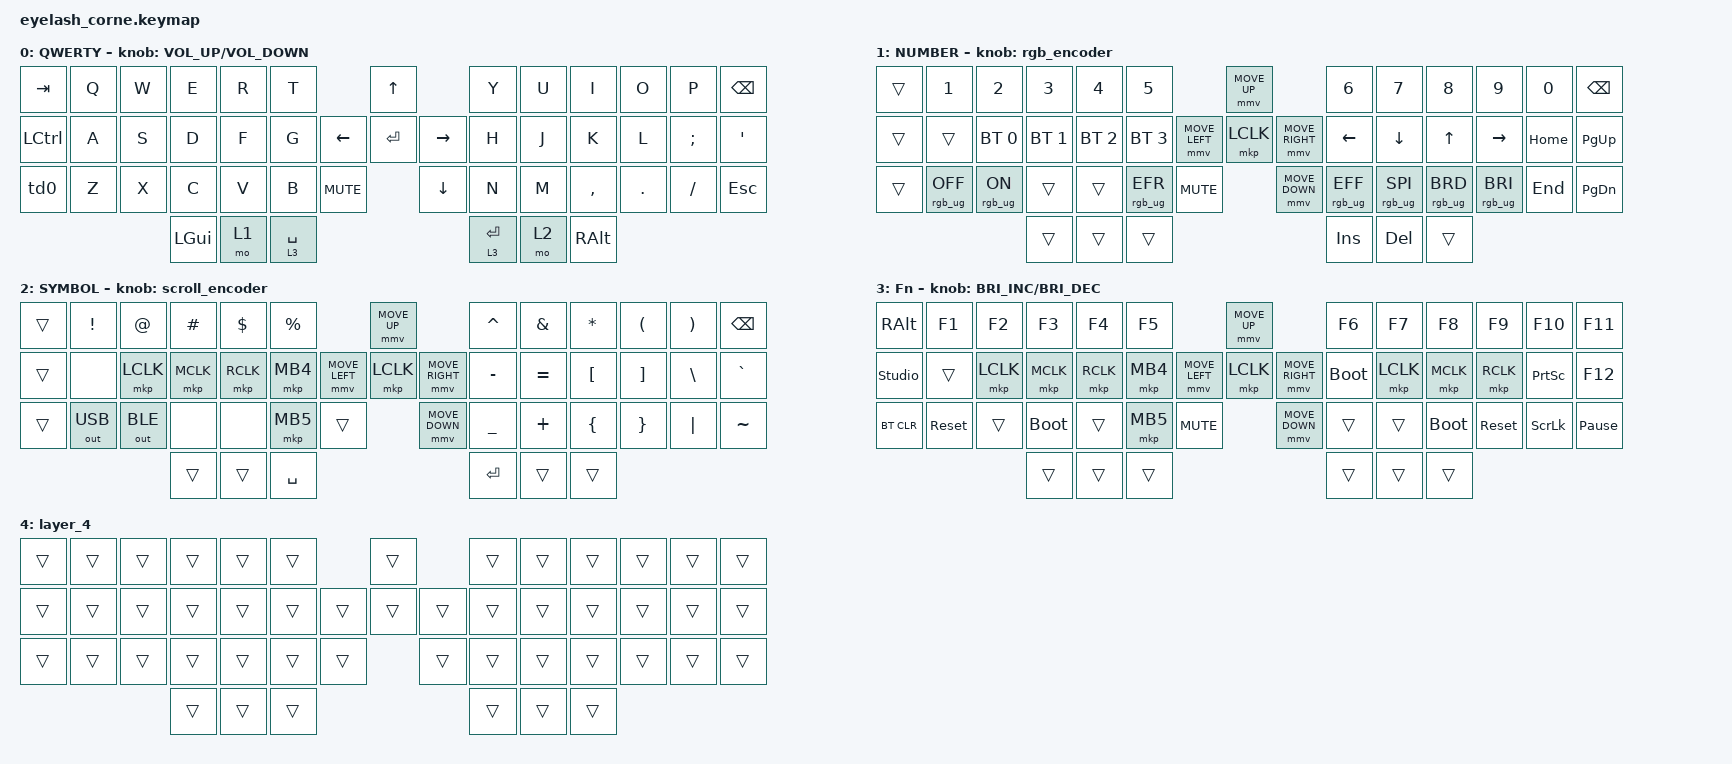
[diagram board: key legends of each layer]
#include <dt-bindings/zmk/mouse.h>
#include <input/processors.dtsi>
#include <behaviors.dtsi>
#include <dt-bindings/zmk/bt.h>
#include <dt-bindings/zmk/keys.h>
#include <dt-bindings/zmk/outputs.h>
#include <dt-bindings/zmk/pointing.h>
#include <dt-bindings/zmk/pointing.h>
#include <dt-bindings/zmk/pointing.h>
#include <dt-bindings/zmk/rgb.h>

/*

   &mmv_input_listener {
       input-processors = <&zip_xy_scaler 2 1>;
   };

   &msc_input_listener {
       input-processors = <&zip_xy_scaler 2 1>;
   };

 */

#define ZMK_MOUSE_DEFAULT_MOVE_VAL 1200  // 600
#define ZMK_MOUSE_DEFAULT_SCRL_VAL 20    // 10

/ {
    behaviors {
        td0: td0 {
            compatible = "zmk,behavior-tap-dance";
            display-name = "Shift/Caps Lock Tap Dance";
            #binding-cells = <0>;
            bindings = <&kp LEFT_SHIFT>, <&kp CAPS>;
        };
    };

    rgb_encoder: rgb_encoder {
        compatible = "zmk,behavior-sensor-rotate";
        #sensor-binding-cells = <0>;
        bindings = <&rgb_ug RGB_BRI>, <&rgb_ug RGB_BRD>;
    };

    scroll_encoder: scroll_encoder {
        compatible = "zmk,behavior-sensor-rotate";
        #sensor-binding-cells = <0>;
        bindings = <&msc SCRL_DOWN>, <&msc SCRL_UP>;

        tap-ms = <30>;
    };

    combos {
        compatible = "zmk,combos";

        combo_esc {
            bindings = <&kp ESCAPE>;
            key-positions = <2 1>;
            layers = <0>;
            timeout-ms = <50>;
        };
    };

    keymap {
        compatible = "zmk,keymap";

        default_layer {
            display-name = "QWERTY";
            bindings = <
&kp TAB           &kp Q  &kp W  &kp E     &kp R  &kp T                                &kp UP                &kp Y        &kp U  &kp I      &kp O    &kp P     &kp BSPC
&kp LEFT_CONTROL  &kp A  &kp S  &kp D     &kp F  &kp G                      &kp LEFT  &kp ENTER  &kp RIGHT  &kp H        &kp J  &kp K      &kp L    &kp SEMI  &kp SQT
&td0              &kp Z  &kp X  &kp C     &kp V  &kp B        &kp C_MUTE              &kp DOWN              &kp N        &kp M  &kp COMMA  &kp DOT  &kp FSLH  &kp ESC
                                &kp LGUI  &mo 1  &lt 3 SPACE                                                &lt 3 ENTER  &mo 2  &kp RALT
            >;

            sensor-bindings = <&inc_dec_kp C_VOLUME_UP C_VOLUME_DOWN>;
        };

        lower_layer {
            display-name = "NUMBER";
            bindings = <
&trans  &kp N1           &kp N2          &kp N3        &kp N4        &kp N5                                         &mmv MOVE_UP                     &kp N6           &kp N7           &kp N8           &kp N9           &kp N0    &kp BSPC
&trans  &trans           &bt BT_SEL 0    &bt BT_SEL 1  &bt BT_SEL 2  &bt BT_SEL 3                   &mmv MOVE_LEFT  &mkp LCLK       &mmv MOVE_RIGHT  &kp LEFT         &kp DOWN         &kp UP           &kp RIGHT        &kp HOME  &kp PG_UP
&trans  &rgb_ug RGB_OFF  &rgb_ug RGB_ON  &trans        &trans        &rgb_ug RGB_EFR  &kp K_MUTE                    &mmv MOVE_DOWN                   &rgb_ug RGB_EFF  &rgb_ug RGB_SPI  &rgb_ug RGB_BRD  &rgb_ug RGB_BRI  &kp END   &kp PG_DN
                                         &trans        &trans        &trans                                                                          &kp INS          &kp DEL          &trans
            >;

            sensor-bindings = <&rgb_encoder>;
        };

        raise_layer {
            display-name = "SYMBOL";
            bindings = <
&trans  &kp EXCL      &kp AT        &kp HASH   &kp DLLR   &kp PRCNT                            &mmv MOVE_UP                     &kp CARET  &kp AMPS   &kp ASTRK  &kp LPAR  &kp RPAR  &kp BSPC
&trans  &none         &mkp LCLK     &mkp MCLK  &mkp RCLK  &mkp MB4             &mmv MOVE_LEFT  &mkp LCLK       &mmv MOVE_RIGHT  &kp MINUS  &kp EQUAL  &kp LBKT   &kp RBKT  &kp BSLH  &kp GRAVE
&trans  &out OUT_USB  &out OUT_BLE  &none      &none      &mkp MB5   &trans                    &mmv MOVE_DOWN                   &kp UNDER  &kp PLUS   &kp LBRC   &kp RBRC  &kp PIPE  &kp TILDE
                                    &trans     &trans     &kp SPACE                                                             &kp RET    &trans     &trans
            >;

            sensor-bindings = <&scroll_encoder>;
        };

        layer_3 {
            display-name = "Fn";
            bindings = <
&kp RALT        &kp F1      &kp F2     &kp F3       &kp F4     &kp F5                                  &mmv MOVE_UP                     &kp F6       &kp F7     &kp F8       &kp F9      &kp F10          &kp F11
&studio_unlock  &trans      &mkp LCLK  &mkp MCLK    &mkp RCLK  &mkp MB4                &mmv MOVE_LEFT  &mkp LCLK       &mmv MOVE_RIGHT  &bootloader  &mkp LCLK  &mkp MCLK    &mkp RCLK   &kp PRINTSCREEN  &kp F12
&bt BT_CLR      &sys_reset  &trans     &bootloader  &trans     &mkp MB5  &kp C_MUTE                    &mmv MOVE_DOWN                   &trans       &trans     &bootloader  &sys_reset  &kp SCROLLLOCK   &kp PAUSE_BREAK
                                       &trans       &trans     &trans                                                                   &trans       &trans     &trans
            >;

            sensor-bindings = <&inc_dec_kp C_BRIGHTNESS_INC C_BRIGHTNESS_DEC>;
        };

        layer_4 {
            bindings = <
&trans  &trans  &trans  &trans  &trans  &trans                    &trans          &trans  &trans  &trans  &trans  &trans  &trans
&trans  &trans  &trans  &trans  &trans  &trans            &trans  &trans  &trans  &trans  &trans  &trans  &trans  &trans  &trans
&trans  &trans  &trans  &trans  &trans  &trans  &trans            &trans          &trans  &trans  &trans  &trans  &trans  &trans
                        &trans  &trans  &trans                                    &trans  &trans  &trans
            >;
        };
    };
};
